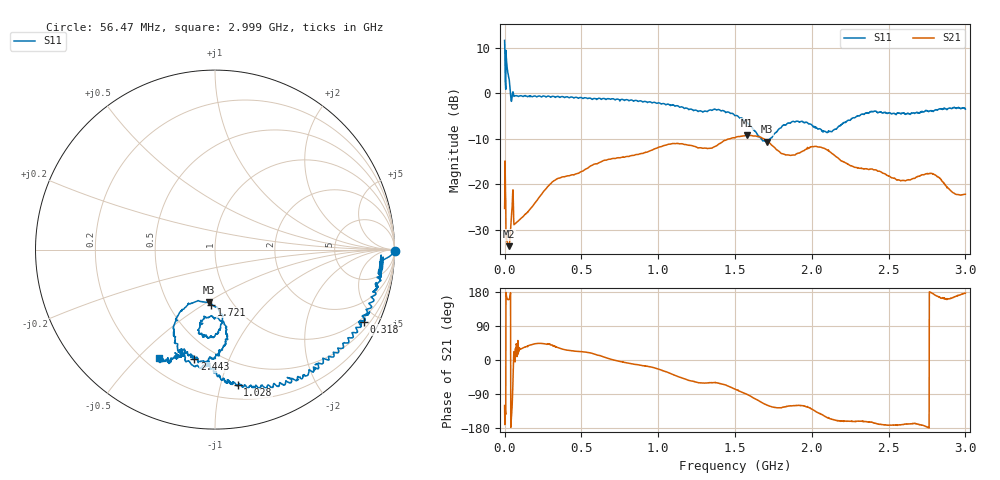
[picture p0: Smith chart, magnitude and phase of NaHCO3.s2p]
# HZ S RI R 50
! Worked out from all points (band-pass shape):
!   2020 points, 10 kHz to 3 GHz, reference 50 ohm
!   highest |S21| = -9.26 dB at 1.575 GHz (marker M1); lowest = -33.6 dB at 29.73 MHz (marker M2)
!   |S21| within 3 dB of the highest: 973.9 MHz to 1.766 GHz (792 MHz wide, 57.8 % of centre); 1.966 GHz to 2.089 GHz (123.4 MHz wide, 6.09 % of centre)
!   lowest |S11| = -10.6 dB at 1.709 GHz (marker M3), VSWR 1.83, Z = 39.4 - j25.2 ohm
!   |S11| at or under -10 dB: 1.671 GHz to 1.728 GHz (56.76 MHz wide, 3.34 % of centre)
!   S12 and S22 are empty: the file has one direction only
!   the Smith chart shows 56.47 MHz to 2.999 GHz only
!   S11 on the Smith chart (normalised r, x): 56.47 MHz: open; 318 MHz: 0.79, -4.20; 1.028 GHz: 0.31, -1.13; 1.721 GHz: 0.80, -0.54; 2.443 GHz: 0.38, -0.75; 2.999 GHz: 0.26, -0.58
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10000  3.109 2.146  -0.0272 -0.047  0 0  0 0
1.635467e7  0.0757 1.912  -0.0224 0.0072  0 0  0 0
2.378406e7  0.4217 1.521  -0.0204 0.00776  0 0  0 0
2.972758e7  0.5757 1.295  -0.0197 0.00719  0 0  0 0
5.64734e7  1.005 -0.0103  0.0634 -0.0298  0 0  0 0
7.578983e7  0.9364 -0.0411  0.0279 0.0258  0 0  0 0
3.179881e8  0.8286 -0.4028  0.0865 0.0653  0 0  0 0
5.007512e8  0.6807 -0.5758  0.1283 0.0517  0 0  0 0
1.000007e9  0.1594 -0.7644  0.2324 -0.1028  0 0  0 0
1.028238e9  0.1262 -0.7559  0.232 -0.1233  0 0  0 0
1.500748e9  -0.2147 -0.5227  0.0735 -0.3179  0 0  0 0
1.575042e9  -0.2313 -0.4301  -0.00137 -0.3445  0 0  0 0
1.708771e9  -0.0361 -0.292  -0.1443 -0.258  0 0  0 0
1.720658e9  -0.021 -0.3069  -0.1486 -0.2463  0 0  0 0
1.845472e9  0.0143 -0.4669  -0.1109 -0.1786  0 0  0 0
2.000003e9  -0.0882 -0.4383  -0.166 -0.1986  0 0  0 0
2.234772e9  0.0689 -0.4959  -0.158 -0.0531  0 0  0 0
2.442795e9  -0.1155 -0.6101  -0.1363 -0.0248  0 0  0 0
2.500744e9  -0.1441 -0.5894  -0.1223 -0.0177  0 0  0 0
2.781575e9  -0.2143 -0.5938  -0.1312 0.00744  0 0  0 0
2.998514e9  -0.3094 -0.6026  -0.0777 0.00464  0 0  0 0
3e9  -0.3137 -0.5881  -0.0776 0.00486  0 0  0 0
